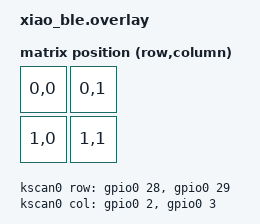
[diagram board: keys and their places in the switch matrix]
#include <dt-bindings/zmk/matrix_transform.h>

/ {
    chosen {
        zmk,kscan = &kscan0;
        zmk,matrix-transform = &default_transform;
    };

    default_transform: keymap_transform_0 {
        compatible = "zmk,matrix-transform";
        columns = <2>;
        rows = <2>;
        map = <
            RC(0,0) RC(0,1)
            RC(1,0) RC(1,1)
        >;
    };

    kscan0: kscan_0 {
        compatible = "zmk,kscan-gpio-matrix";
        label = "KSCAN";
        diode-direction = "col2row";

        col-gpios
            = <&gpio0 2 GPIO_ACTIVE_HIGH>  /* Пин D0 */
            , <&gpio0 3 GPIO_ACTIVE_HIGH>  /* Пин D1 */
            ;

        row-gpios
            = <&gpio0 28 (GPIO_ACTIVE_HIGH | GPIO_PULL_DOWN)> /* Пин D2 */
            , <&gpio0 29 (GPIO_ACTIVE_HIGH | GPIO_PULL_DOWN)> /* Пин D3 */
            ;
    };
};

/* Аппаратный UART1 для подключения сканера (Пины D6 и D7) */
&pinctrl {
    uart1_default: uart1_default {
        group1 {
            psels = <NRF_PSEL(UART_TX, 1, 11)>; /* Xiao Pin D6 = TX (to Sensor RX) */
        };
        group2 {
            psels = <NRF_PSEL(UART_RX, 1, 12)>; /* Xiao Pin D7 = RX (from Sensor TX) */
            bias-pull-up;
        };
    };
    uart1_sleep: uart1_sleep {
        group1 {
            psels = <NRF_PSEL(UART_TX, 1, 11)>,
                    <NRF_PSEL(UART_RX, 1, 12)>;
            low-power-enable;
        };
    };
};

&uart1 {
    status = "okay";
    current-speed = <57600>;
    pinctrl-0 = <&uart1_default>;
    pinctrl-1 = <&uart1_sleep>;
    pinctrl-names = "default", "sleep";
};

/* Отключаем UART0, чтобы исключить конфликты с ZMK */
&uart0 {
    status = "disabled";
};

/* Отключаем I2C0, чтобы освободить пин D5 (P0.05) под Touch Sensing */
&i2c0 {
    status = "disabled";
};
